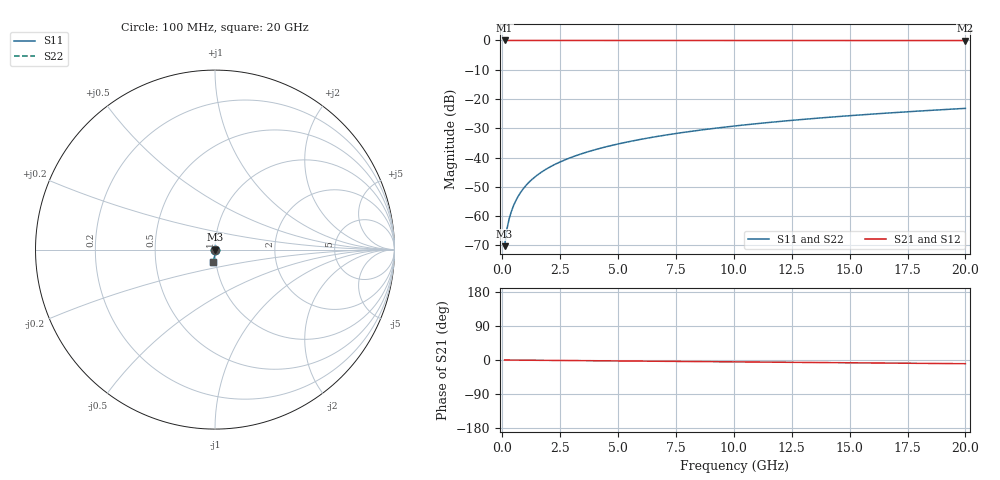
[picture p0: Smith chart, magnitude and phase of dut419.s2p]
! Touchstone file exported from HFSS 2026.1.0
!  File:  C:/ffzhzh/LocalFiles/Ansys_Project_Files/temp_train_TSV_419_1783020812_46388.aedt
!  Generated:  03:35:23 AM Jul  3, 2026
!  Design:  TSV
!  Project:  temp_train_TSV_419_1783020812_46388
! Variables:
!  h_bsmrdl = 2um
!  h_ox = 20um
!  h_rdl = 5um
!  h_sub = 94.45um
!  h_tmrdl = 5um
!  h_tsv = 94.45um
!  h_via = 3um
!  l_bsmrdl = 300um
!  l_sub = 428.8um
!  l_tmrdl = 200um
!  m_sub = 200um
!  pitch = 40.49um
!  r_tsv = 14.4um
!  s_tmrdl = 10um
!  w_bsmrdl = 18um
!  w_sub = 500um
!  w_tmrdl = 12um
!  x_tsv_center1 = 206um
!  x_tsv_center2 = 524um
!  x_tsv_center3 = 736um
!  x_tsv_center4 = 1054um
!  x_tsv_center5 = 1266um
!  x_tsv_center6 = 1584um
# GHz S MA R 50.000000
! Terminal data exported
! Port[1] = TSV1_1_T1
! Port[2] = TSV1_1_T2
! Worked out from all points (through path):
!   200 points, 100 MHz to 20 GHz, reference 50 ohm
!   highest |S21| = 0.00 dB at 100 MHz (marker M1); lowest = 0.0 dB at 20 GHz (marker M2)
!   group delay of S21, straight-line fit = 1.35 ps
!   lowest |S11| = -70.2 dB at 100 MHz (marker M3), VSWR 1.00, Z = 50 - j0.0294 ohm
!   |S11| at or under -10 dB: start of sweep to end of sweep
!   |S22| runs from -70.2 to -23.2 dB; largest |S21 - S12| = 4.8e-15
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0.1  0.0003077 -72.6  0.9999 -0.1  0.9999 -0.1  0.0003077 -72.6
! Gamma 0 0 0 0
! Port Impedance 50 0 50 0
0.2  0.0006031 -79.4  0.9999 -0.1  0.9999 -0.1  0.0006031 -79.4
0.3  0.0009117 -81.4  0.9999 -0.2  0.9999 -0.2  0.0009117 -81.4
0.4  0.001231 -82.3  0.9998 -0.2  0.9998 -0.2  0.001231 -82.3
0.5  0.00156 -82.8  0.9998 -0.3  0.9998 -0.3  0.00156 -82.8
0.7  0.002234 -83.8  0.9997 -0.4  0.9997 -0.4  0.002234 -83.8
0.8  0.002576 -84.2  0.9997 -0.4  0.9997 -0.4  0.002576 -84.2
1  0.003265 -84.9  0.9997 -0.5  0.9997 -0.5  0.003265 -84.9
1.2  0.003956 -85.6  0.9996 -0.6  0.9996 -0.6  0.003956 -85.6
1.4  0.004647 -86.1  0.9996 -0.7  0.9996 -0.7  0.004647 -86.1
1.7  0.005683 -86.8  0.9996 -0.8  0.9996 -0.8  0.005683 -86.8
2  0.006718 -87.4  0.9996 -1.0  0.9996 -1.0  0.006718 -87.4
2.7  0.009133 -88.3  0.9995 -1.3  0.9995 -1.3  0.009133 -88.3
3.5  0.0119 -89.1  0.9994 -1.7  0.9994 -1.7  0.0119 -89.1
4.2  0.01432 -89.7  0.9993 -2.1  0.9993 -2.1  0.01432 -89.7
5  0.0171 -90.3  0.9992 -2.5  0.9992 -2.5  0.0171 -90.3
6.8  0.02337 -91.5  0.999 -3.3  0.999 -3.3  0.02337 -91.5
8.3  0.0286 -92.4  0.9987 -4.1  0.9987 -4.1  0.0286 -92.4
10.1  0.03488 -93.4  0.9985 -4.9  0.9985 -4.9  0.03488 -93.4
13.4  0.04638 -95.2  0.9979 -6.6  0.9979 -6.6  0.04638 -95.2
16.7  0.05785 -97.0  0.9971 -8.2  0.9971 -8.2  0.05785 -97.0
20  0.06929 -98.7  0.9963 -9.8  0.9963 -9.8  0.06929 -98.7
